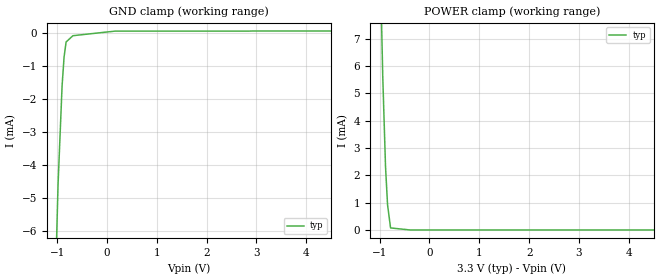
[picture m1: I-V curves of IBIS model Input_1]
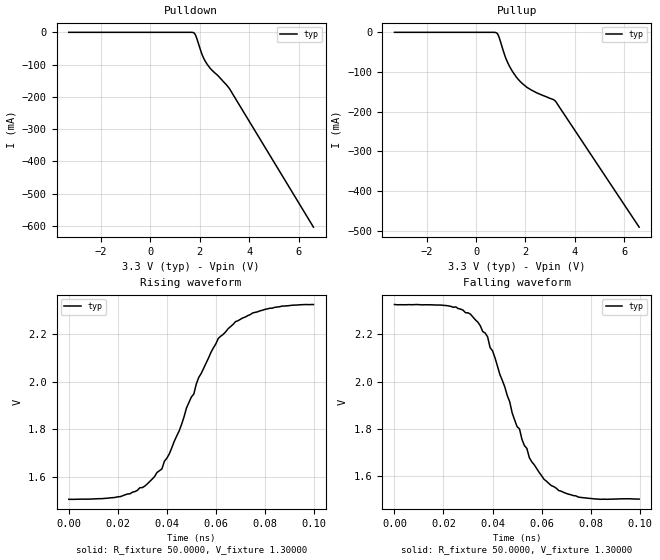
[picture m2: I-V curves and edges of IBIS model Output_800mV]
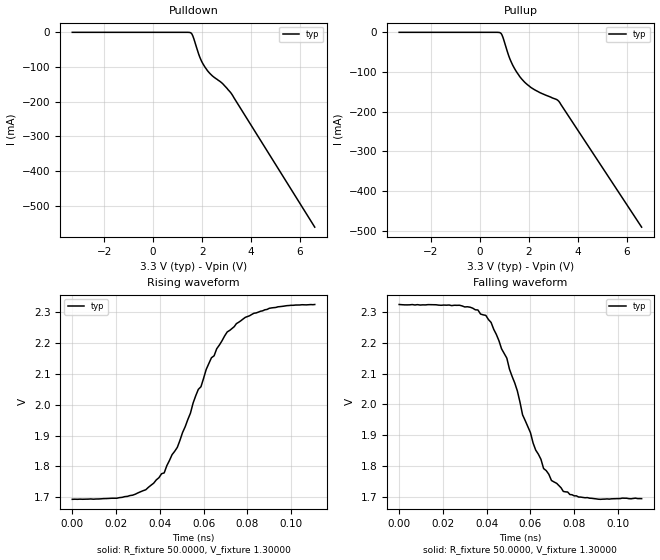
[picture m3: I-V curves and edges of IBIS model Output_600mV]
|COPYRIGHT(C) TERASPEED CONSULTING GROUP LLC 2003 ALL
|RIGHTS RESERVED. THIS WORK CONTAINS PROPRIETARY
|INFORMATION WHICH IS THE PROPERTY OF TERASPEED
|CONSULTING GROUP LLC OR ITS LICENSORS. USE OF THESE
|MATERIALS IS SUBJECT TO THE TERMS BELOW.
|USE: TERASPEED HAS LICENSED IBIS MODELS TO
|SPECIFIC INTEGRATED CIRCUIT SUPPLIERS ("IC VENDORS")
|FOR USE AND DISTRIBUTION AS FOLLOWS: EACH IC VENDOR
|MAY USE IBIS MODELS, AND DISTRIBUTE THEM TO IC VENDOR'S
|CUSTOMERS TO USE, SOLELY FOR DEVELOPING PRINTED
|CIRCUIT BOARD DESIGNS. NO OTHER USE OR DISTRIBUTION
|OF THESE MATERIALS IS PERMITTED.
|DISCLAIMER OF WARRANTY:  UNLESS OTHERWISE AGREED
|IN WRITING, TERASPEED SOFTWARE AND ASSOCIATED
|FILES ARE PROVIDED "AS IS" AND WITHOUT WARRANTY.
|TERASPEED HAS NO OBLIGATION TO SUPPORT OR
|OTHERWISE MAINTAIN SOFTWARE.  TERASPEED MAKES
|NO WARRANTIES, EXPRESS OR IMPLIED WITH RESPECT TO
|SOFTWARE INCLUDING ANY WARRANTY OF MERCHANTABILITY
|OR FITNESS FOR A PARTICULAR PURPOSE.
|LIMITATION OF LIABILITY:  TERASPEED IS NOT LIABLE FOR
|ANY PROPERTY DAMAGE, PERSONAL INJURY, LOSS OF PROFITS,
|INTERRUPTION OF BUSINESS, OR FOR ANY OTHER SPECIAL,
|CONSEQUENTIAL OR INCIDENTAL DAMAGES, HOWEVER CAUSED,
|WHETHER FOR BREACH OF WARRANTY, CONTRACT, TORT
|(INCLUDING NEGLIGENCE), STRICT LIABILITY OR OTHERWISE. IN NO
|EVENT SHALL TERASPEED'S LIABILITY EXCEED THE AMOUNT
|PAID FOR THE PRODUCT GIVING RISE TO THE CLAIM.
|TRADEMARKS:  THE FOLLOWING ARE REGISTERED TRADEMARKS
|OR SERVICE MARKS OF TERASPEED CONSULTING GROUP LLC:
|THE FOLLOWING ARE TRADEMARKS OR SERVICE MARKS OF
|TERASPEED CONSULTING GROUP LLC:
|ALL OTHER BRANDS AND PRODUCT NAMES ARE TRADEMARKS OF
|THEIR RESPECTIVE OWNERS
|COPIES:  ALL COPIES OF SOFTWARE, INCLUDING BUT NOT LIMITED
|TO ANY MODIFICATIONS, ENHANCEMENTS OR DERIVATIVE WORKS
|MUST CONTAIN ALL TERASPEED'S NOTICES AND LEGENDS,
|INCLUDING THOSE EMBEDDED IN SOFTWARE AND THOSE AFFIXED
|TO THE SOFTWARE MEDIUM AND CONTAINER, AS RECEIVED FROM
|TERASPEED.
[IBIS Ver] 3.2
[File Name] nbsg72a_33v.ibs
[File Rev] 3.0
[Source] Measured and created by Teraspeed Consulting Group LLC
[Date]   7-18-2003
[Notes]  Quality Check of this IBIS model: Model Passes IBIS Check. Model
   parses into ICX IS.
   1. Package model data for LC gained by using TDA Systems Software.
[Copyright]
|COPYRIGHT(C) TERASPEED CONSULTING GROUP LLC 2003 ALL
|RIGHTS RESERVED. THIS WORK CONTAINS PROPRIETARY
|INFORMATION WHICH IS THE PROPERTY OF TERASPEED
|CONSULTING GROUP LLC OR ITS LICENSORS. USE OF THESE
|MATERIALS IS SUBJECT TO THE TERMS BELOW.
|USE: TERASPEED HAS LICENSED IBIS MODELS TO
|SPECIFIC INTEGRATED CIRCUIT SUPPLIERS ("IC VENDORS")
|FOR USE AND DISTRIBUTION AS FOLLOWS: EACH IC VENDOR
|MAY USE IBIS MODELS, AND DISTRIBUTE THEM TO IC VENDOR'S
|CUSTOMERS TO USE, SOLELY FOR DEVELOPING PRINTED
|CIRCUIT BOARD DESIGNS. NO OTHER USE OR DISTRIBUTION
|OF THESE MATERIALS IS PERMITTED.
|  Teraspeed Spectrum Model Builder
[Component] NBSG72A_3.3V
[Manufacturer] OnSemiConductor
[Package]
| variable   typ   min   max
R_pkg  0.010ohms   0.010ohms   0.010ohms
L_pkg  0.90nH   0.90nH   0.90nH
C_pkg  0.160pF   0.160pF   0.160pF
[Pin] signal_name  model_name  R_pin  L_pin C_pin
1   VTD0   POWER   0.010ohms   0.90nH   0.160pF
2   _D0   Input_1   0.010ohms   0.90nH   0.160pF
3   D0   Input_1   0.010ohms   0.90nH   0.160pF
4   SELA   Input_1   0.010ohms   0.90nH   0.160pF
5   VEE   POWER   0.010ohms   0.90nH   0.160pF
6   _D1   Input_1   0.010ohms   0.90nH   0.160pF
7   D1   Input_1   0.010ohms   0.90nH   0.160pF
8   VTD1   POWER   0.010ohms   0.90nH   0.160pF
9   SELB   Input_1   0.010ohms   0.90nH   0.160pF
10  Q1   Output_1   0.010ohms   0.90nH   0.160pF
11  _Q1   Output_1   0.010ohms   0.90nH   0.160pF
12  VCC   POWER   0.010ohms   0.90nH   0.160pF
13  OLS   POWER   0.010ohms   0.90nH   0.160pF
14  Q0   Output_1   0.010ohms   0.90nH   0.160pF
15  _Q0   Output_1   0.010ohms   0.90nH   0.160pF
16  VCC   POWER   0.010ohms   0.90nH   0.160pF
[Diff Pin] inv_pin vdiff tdelay_typ tdelay_min tdelay_max
3  2   200mV  NA  NA  NA
7  6   200mV  NA  NA  NA
10 11  NA   NA  NA  NA
14 15  NA   NA  NA  NA
[Series Pin Mapping] pin_2 model_name function_table_group
2  1  Series_50
3  1  Series_50
6  8  Series_50
7  8  Series_50
[Model Selector] Output_1
Output_800mV   800mV P-P swing
Output_600mV   600mV P-P swing
Output_400mV   400mV P-P swing
Output_200mV   200mV P-P swing
[Model]   Series_50
Model_type   Series
C_comp   0  NA   NA
[Voltage Range]  3.3   NA   NA
[R series]   50   NA   NA
| Models and submodels in the file (6): Input_1 (Input), Output_800mV (Output_ECL), Output_600mV (Output_ECL), Output_400mV (Output_ECL), Output_200mV (Output_ECL), Series_50 (Series)
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[Model] Input_1
Model_type Input
Vinl = 875.000mV
Vinh = 1.275000V
C_comp 2.00000pF   NA   NA
| variable typ   min   max
[Voltage Range]   3.30000V   NA   NA
[POWER Clamp Reference] 3.30000V   NA   NA
[GND Clamp Reference]   0.00000V   NA   NA
[Temperature Range] 25   NA   NA
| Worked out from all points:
|   GND clamp passes 1 mA (typ) near -0.87 V on its own axis
|   POWER clamp passes 1 mA (typ) near -0.84 V on its own axis
[GND Clamp]
-3.3V     -134.5mA   NA         NA
-1.099V   -11.11mA   NA         NA
-982.2mV  -4.591mA   NA         NA
-901.1mV  -1.593mA   NA         NA
-861mV    -716.8uA   NA         NA
-820.5mV  -268.3uA   NA         NA
-683.8mV  -77.41uA   NA         NA
162.3mV   61.19uA    NA         NA
6.6V      64.49uA    NA         NA
[POWER Clamp]
-3.3V     199.5mA    NA         NA
-1.079V   17.21mA    NA         NA
-937.7mV  5.604mA    NA         NA
-882.5mV  2.319mA    NA         NA
-841.7mV  922.7uA    NA         NA
-781.1mV  74.62uA    NA         NA
-390.6mV  0A         NA         NA
6.6V      0A         NA         NA
[Model] Output_800mV
Model_type Output_ECL
Vref=1.3000V
Rref=50.0000ohms
Cref=0.00000pF
Vmeas=1.927085V
C_comp 0.50000pF NA NA
| variable typ   min   max
[Voltage Range]   3.30000V  NA   NA
[POWER Clamp Reference] 3.30000V  NA   NA
[Pullup Reference]   3.30000V  NA   NA
[Pulldown Reference]   3.30000V  NA   NA
[GND Clamp Reference]   0.00000V  NA   NA
[Temperature Range] 25   NA   NA
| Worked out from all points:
|   falling waveform, R_fixture 50.0000, V_fixture 1.30000: 20-80 % time 17ps typ, NA min, NA max; typ from 2.33 V to 1.5 V
|   rising waveform, R_fixture 50.0000, V_fixture 1.30000: 20-80 % time 20.8ps typ, NA min, NA max; typ from 1.5 V to 2.33 V
[GND Clamp]
-7.2V     0A         NA         NA
-6.6V     0A         NA         NA
-6V       0A         NA         NA
0V        0A         NA         NA
3V        0A         NA         NA
3.3V      0A         NA         NA
3.6V      0A         NA         NA
[Pulldown]
-3.3V     305.8nA    NA         NA
1.661V    0A         NA         NA
1.777V    -2.51mA    NA         NA
1.858V    -14.28mA   NA         NA
2.101V    -70.28mA   NA         NA
2.258V    -93.99mA   NA         NA
2.419V    -111.4mA   NA         NA
2.739V    -134.5mA   NA         NA
3.219V    -176.6mA   NA         NA
6.6V      -603.8mA   NA         NA
[Pullup]
-3.3V     0A         NA         NA
822.2mV   -1.071mA   NA         NA
862.6mV   -3.122mA   NA         NA
938mV     -13.39mA   NA         NA
1.14V     -53.84mA   NA         NA
1.261V    -73.61mA   NA         NA
1.459V    -97.15mA   NA         NA
1.621V    -112.1mA   NA         NA
1.818V    -125.9mA   NA         NA
2.101V    -140.3mA   NA         NA
3.219V    -174mA     NA         NA
6.6V      -491.1mA   NA         NA
[POWER Clamp]
-6.9V     0A         NA         NA
-6.6V     0A         NA         NA
-6.3V     0A         NA         NA
-300mV    0A         NA         NA
0V        0A         NA         NA
300mV     0A         NA         NA
2.7V      0A         NA         NA
3.3V      0A         NA         NA
3.9V      0A         NA         NA
[Falling Waveform]
R_fixture = 50.0000
V_fixture = 1.30000
0s        2.325V     NA         NA
25ps      2.315V     NA         NA
34ps      2.251V     NA         NA
38ps      2.188V     NA         NA
47ps      1.915V     NA         NA
48ps      1.868V     NA         NA
55ps      1.679V     NA         NA
64ps      1.561V     NA         NA
75ps      1.513V     NA         NA
99.8ps    1.504V     NA         NA
[Rising Waveform]
R_fixture = 50.0000
V_fixture = 1.30000
0s        1.504V     NA         NA
21ps      1.516V     NA         NA
31ps      1.56V      NA         NA
38ps      1.633V     NA         NA
45ps      1.792V     NA         NA
53ps      2.018V     NA         NA
61ps      2.183V     NA         NA
68ps      2.253V     NA         NA
75ps      2.289V     NA         NA
99.8ps    2.325V     NA         NA
[Ramp]
| variable typ min max
dV/dt_r 490.984m/20.2296p   NA   NA
dV/dt_f 490.984m/16.9502p   NA   NA
R_load = 50.0000Ohms
[Model] Output_600mV
Model_type Output_ECL
Vref=1.3000V
Rref=50.0000ohms
Cref=0.00000pF
Vmeas=2.00913V
C_comp 0.50000pF NA NA
| variable typ   min   max
[Voltage Range]   3.30000V  NA   NA
[POWER Clamp Reference] 3.30000V  NA   NA
[Pullup Reference]   3.30000V  NA   NA
[Pulldown Reference]   3.30000V  NA   NA
[GND Clamp Reference]   0.00000V  NA   NA
[Temperature Range] 25   NA   NA
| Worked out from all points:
|   falling waveform, R_fixture 50.0000, V_fixture 1.30000: 20-80 % time 18.9ps typ, NA min, NA max; typ from 2.33 V to 1.69 V
|   rising waveform, R_fixture 50.0000, V_fixture 1.30000: 20-80 % time 23.2ps typ, NA min, NA max; typ from 1.69 V to 2.33 V
[GND Clamp]
-7.2V     0A         NA         NA
-6.6V     0A         NA         NA
-6V       0A         NA         NA
0V        0A         NA         NA
3V        0A         NA         NA
3.3V      0A         NA         NA
3.6V      0A         NA         NA
[Pulldown]
-3.3V     4.55uA     NA         NA
1.54V     -1.433mA   NA         NA
1.621V    -10.16mA   NA         NA
1.898V    -70.13mA   NA         NA
1.979V    -83.39mA   NA         NA
2.101V    -98.47mA   NA         NA
2.338V    -120mA     NA         NA
2.859V    -149.3mA   NA         NA
3.219V    -178.9mA   NA         NA
6.6V      -561.6mA   NA         NA
[Pullup]
-3.3V     0A         NA         NA
700.7mV   0A         NA         NA
862.5mV   -2.87mA    NA         NA
938mV     -12.76mA   NA         NA
1.14V     -52.91mA   NA         NA
1.261V    -72.82mA   NA         NA
1.419V    -92.02mA   NA         NA
1.621V    -111.4mA   NA         NA
1.858V    -127.7mA   NA         NA
2.141V    -141.4mA   NA         NA
3.219V    -173.9mA   NA         NA
6.6V      -491.1mA   NA         NA
[POWER Clamp]
-6.9V     0A         NA         NA
-6.6V     0A         NA         NA
-6.3V     0A         NA         NA
-300mV    0A         NA         NA
0V        0A         NA         NA
300mV     0A         NA         NA
2.7V      0A         NA         NA
3.3V      0A         NA         NA
3.9V      0A         NA         NA
[Falling Waveform]
R_fixture = 50.0000
V_fixture = 1.30000
0s        2.325V     NA         NA
27.6ps    2.323V     NA         NA
39.6ps    2.29V      NA         NA
49.2ps    2.15V      NA         NA
54ps      2.044V     NA         NA
56.4ps    1.966V     NA         NA
66ps      1.791V     NA         NA
69.6ps    1.752V     NA         NA
82ps      1.699V     NA         NA
110.8ps   1.693V     NA         NA
[Rising Waveform]
R_fixture = 50.0000
V_fixture = 1.30000
0s        1.693V     NA         NA
20.4ps    1.697V     NA         NA
33.6ps    1.724V     NA         NA
42ps      1.779V     NA         NA
48ps      1.862V     NA         NA
62.4ps    2.134V     NA         NA
70.8ps    2.236V     NA         NA
79ps      2.283V     NA         NA
90ps      2.313V     NA         NA
110.8ps   2.325V     NA         NA
[Ramp]
| variable typ min max
dV/dt_r 373.326m/23.0588p NA NA
dV/dt_f 373.326m/18.0013p NA NA
R_load = 50.0000Ohms
